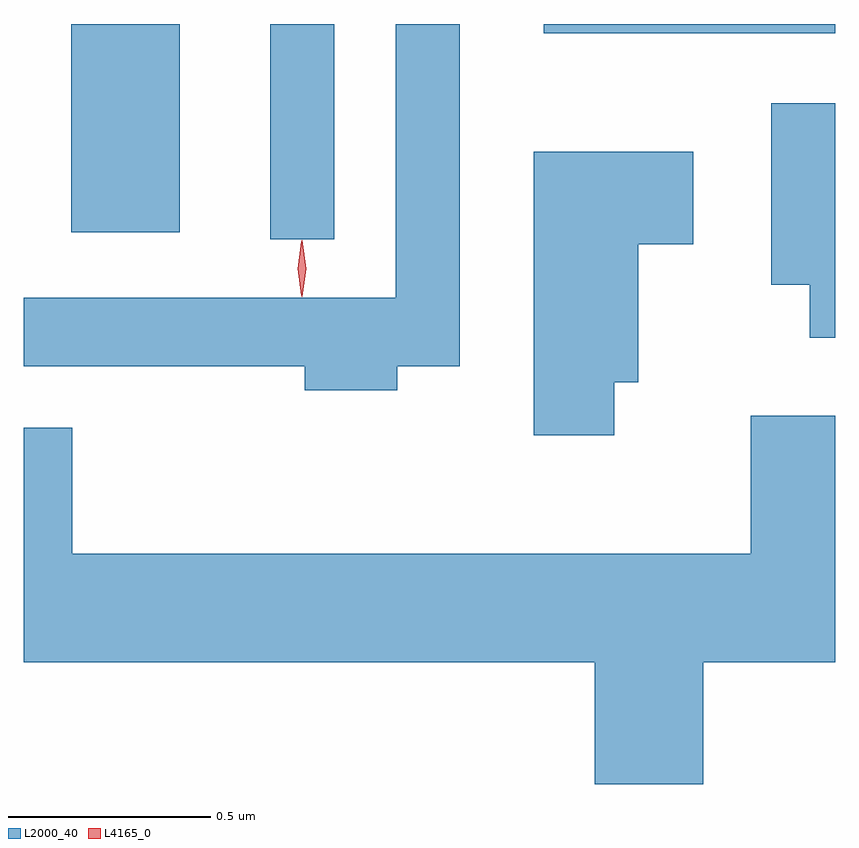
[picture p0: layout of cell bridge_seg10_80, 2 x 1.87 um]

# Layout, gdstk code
import gdstk
lib = gdstk.Library(unit=1e-6, precision=1e-09)
def R(c, l, rs):  # rectangles x0, y0, x1, y1
    for r in rs: c.add(gdstk.rectangle(r[:2], r[2:], *l))
def P(c, l, *ps):  # polygons
    for p in ps: c.add(gdstk.Polygon(p, *l))
L2000_40 = (2000, 40)
L4165_0 = (4165, 0)

bridge_seg10_80 = lib.new_cell('bridge_seg10_80')
R(bridge_seg10_80, L2000_40, [(1592.896,2188.218,1593.054,2188.749), (1592.406,2188.236,1592.674,2188.749), (1593.571,2188.726,1594.289,2188.749)])
P(bridge_seg10_80, L2000_40, [(1593.209,2187.906),(1593.364,2187.906),(1593.364,2188.749),(1593.206,2188.749),(1593.206,2188.074),(1592.289,2188.074),(1592.289,2187.906),(1592.981,2187.906),(1592.981,2187.846),(1593.209,2187.846)],
  [(1594.289,2188.554),(1594.131,2188.554),(1594.131,2188.106),(1594.226,2188.106),(1594.226,2187.976),(1594.289,2187.976)],
  [(1593.744,2187.866),(1593.804,2187.866),(1593.804,2188.206),(1593.939,2188.206),(1593.939,2188.434),(1593.546,2188.434),(1593.546,2187.736),(1593.744,2187.736)],
  [(1593.964,2187.176),(1594.289,2187.176),(1594.289,2187.784),(1594.081,2187.784),(1594.081,2187.444),(1592.409,2187.444),(1592.409,2187.754),(1592.289,2187.754),(1592.289,2187.176),(1593.696,2187.176),(1593.696,2186.876),(1593.964,2186.876)])
P(bridge_seg10_80, L4165_0, [(1592.974,2188.077),(1592.965,2188.146),(1592.974,2188.216),(1592.975,2188.216),(1592.975,2188.216),(1592.985,2188.146),(1592.975,2188.077),(1592.975,2188.077)],
  [(1592.974,2188.079),(1592.973,2188.08),(1592.964,2188.146),(1592.973,2188.212),(1592.974,2188.213),(1592.974,2188.212),(1592.984,2188.146),(1592.974,2188.08)])

lib.write_gds('bridge_seg10_80.gds')
